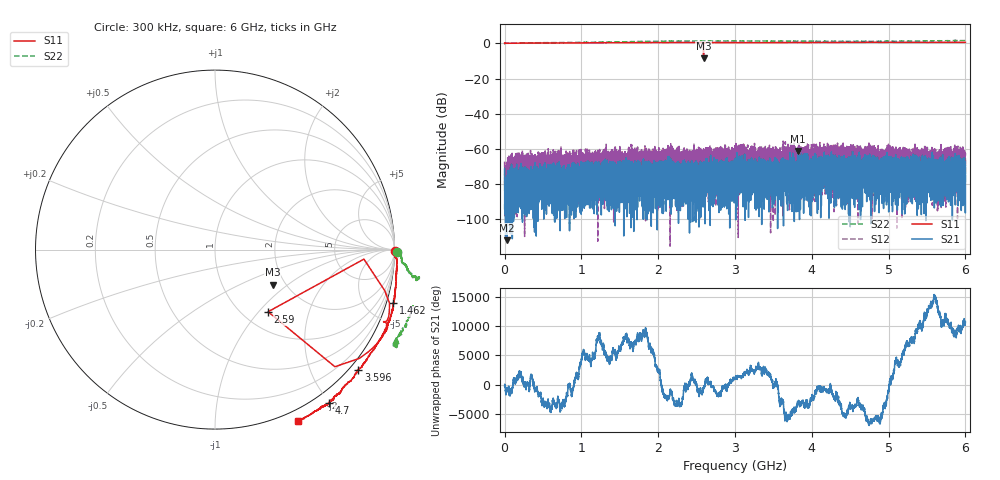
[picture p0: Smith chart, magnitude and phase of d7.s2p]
!Agilent Technologies,N5230C,SG49000117,A.08.50.07
!Agilent N5230C: A.08.50.07
!Date: Thursday, May 16, 2024 19:32:05
!Correction: S11(Full 2 Port(1,2))
!S21(Full 2 Port(1,2))
!S12(Full 2 Port(1,2))
!S22(Full 2 Port(1,2))
!S2P File: Measurements: S11, S21, S12, S22:
# Hz S  MA  R 50
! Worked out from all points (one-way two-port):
!   20001 points, 300 kHz to 6 GHz, reference 50 ohm
!   highest |S21| = -61.18 dB at 3.82 GHz (marker M1); lowest = -111.8 dB at 32.7 MHz (marker M2)
!   lowest |S11| = -8.5 dB at 2.59 GHz (marker M3), VSWR 2.21, Z = 86.2 - j39.4 ohm
!   |S11| at or under -10 dB: nowhere
!   |S22| runs from -0.3 to 1.6 dB; largest |S21 - S12| = 0.0018
!   S11 on the Smith chart (normalised r, x): 300 kHz: open; 1.462 GHz: -0.86, -6.69; 2.59 GHz: 1.29, -1.12; 3.596 GHz: -0.18, -2.74; 4.7 GHz: -0.16, -1.98; 6 GHz: -0.11, -1.59
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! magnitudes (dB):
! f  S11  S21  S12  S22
! 300 kHz  0.0  -71.0  -67.1  0.1
! 32.7 MHz  0.0  -111.8  -79.0  0.0
! 207.6 MHz  0.1  -79.4  -71.5  0.1
! 1 GHz  0.2  -81.1  -82.3  0.5
! 1.462 GHz  0.3  -78.7  -73.1  0.8
! 2 GHz  0.4  -71.8  -70.1  1.1
! 2.16 GHz  0.4  -66.4  -74.8  1.2
! 2.242 GHz  0.4  -83.5  -67.4  1.2
! 2.59 GHz  -6.8  -75.2  -64.8  1.3
! 2.59 GHz  -8.5  -75.4  -74.2  1.3
! 3 GHz  0.4  -75.6  -64.4  1.3
! 3.596 GHz  0.4  -89.5  -70.2  1.2
! 3.82 GHz  0.4  -61.2  -67.9  1.1
! 4 GHz  0.4  -66.3  -68.6  1.2
! 4.7 GHz  0.5  -63.6  -71.2  1.1
! 4.937 GHz  0.5  -79.1  -68.7  1.1
! 5 GHz  0.5  -75.2  -60.0  1.2
! 5.645 GHz  0.5  -74.8  -74.6  1.4
! 5.733 GHz  0.5  -78.1  -67.7  1.4
! 5.869 GHz  0.5  -69.6  -67.3  1.5
! 5.97 GHz  0.5  -72.8  -63.6  1.5
! 6 GHz  0.5  -69.5  -67.6  1.5
